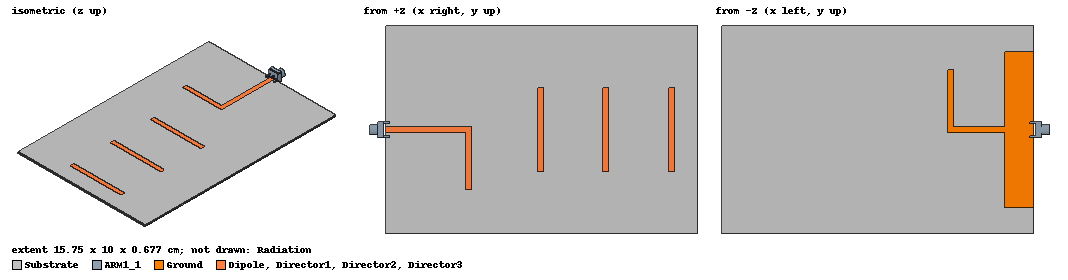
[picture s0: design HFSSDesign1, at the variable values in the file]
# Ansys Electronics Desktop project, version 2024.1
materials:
  vacuum: permittivity=1
  FR4_epoxy: permittivity=4.4 dielectric_loss_tangent=0.02
  air: permittivity=1.0006 permeability=1.0000004
  polystyrene: permittivity=2.6 conductivity=1e-16
  pec: conductivity=1e+30
  Teflon (tm): permittivity=2.1 dielectric_loss_tangent=0.001

design HFSSDesign1 (HFSS, HFSS Terminal Network, model units cm)
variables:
  dipole_length = 2.75cm
  director_lenght = -4cm
  SX = 7.35mm
  SY = 2.5mm
  SZ = 6.35mm
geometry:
  Ground = rectangle(corner=(0cm, -3.75cm, -0.1cm), x_size=1.4cm, y_size=7.5cm)
  Substrate [polystyrene] = box(corner=(0cm, -5cm, -0.1cm), size=(15cm, 10cm, 0.1cm))
  Rectangle1 = rectangle(corner=(1.4cm, -0.15cm, -0.1cm), x_size=2.75cm, y_size=0.3cm)
  Rectangle2 = rectangle(corner=(4.15cm, 0.15cm, -0.1cm), x_size=-0.3cm, y_size=dipole_length)
  Rectangle3 = rectangle(corner=(0cm, -0.15cm, 0cm), x_size=4.15cm, y_size=0.3cm)
  Dipole = rectangle(corner=(4.15cm, -0.15cm, 0cm), x_size=-0.3cm, y_size=-dipole_length)
  Dipole.unite(Rectangle3)
  Ground.unite(Rectangle1, Rectangle2)
  Director1 = rectangle(corner=(7.3cm, 2cm, 0cm), x_size=0.3cm, y_size=director_lenght)
  Director2 = rectangle(corner=(10.45cm, 2cm, 0cm), x_size=0.3cm, y_size=director_lenght)
  Director3 = rectangle(corner=(13.6cm, 2cm, 0cm), x_size=0.3cm, y_size=director_lenght)
  Radiation [air] = box(corner=(-14cm, -20cm, -15cm), size=(50cm, 40cm, 30cm))
  SMA_body = box(corner=(-SY-0.1cm, -SX/2, -0.2cm), size=(SY, SX, SZ))
  ARM1 = box(corner=(-0.1cm, -SX/2, -0.2cm), size=(0.3cm, 0.1cm, 0.1cm))
  coordinate_system OC = origin=(0cm, 0cm, 0cm) x=(1cm, 0cm, 0cm) y=(0cm, 1cm, 0cm)
  ARM2 = box(corner=(-0.1cm, SX/2, -0.2cm), size=(0.3cm, -0.1cm, 0.1cm))
  ARM1_1 [pec] = ARM1.duplicate_along_line(step=(0cm, 0cm, 0.2cm), total=2)
  ARM2_1 = ARM2.duplicate_along_line(step=(0cm, 0cm, 0.2cm), total=2) in OC
  PIN [pec] = box(corner=(-0.1cm, (-0.036/2) cm, 0cm), size=(0.15cm, 0.036cm, 0.036cm)) in OC
  Cylinder1 = cylinder(axis=X, base_centre=(-0.1cm, 0cm, (0.036/2) cm), radius=0.1cm, height=-SY) in OC
  SMA_body.subtract(Cylinder1)
  inner_pin = cylinder(axis=X, base_centre=(-0.1cm, 0cm, (0.036/2) cm), radius=0.043cm, height=-SY) in OC
  Outer_conductor = cylinder(axis=X, base_centre=(-0.35cm, 0cm, 0.018cm), radius=0.26cm, height=-0.4cm) in OC
  Teflon [Teflon (tm)] = cylinder(axis=X, base_centre=(-SY-0.1cm, 0cm, 0.036cm/2), radius=0.22cm, height=-0.4cm) in OC
  Teflon_1 = Teflon.copy()
  Outer_conductor.subtract(Teflon_1)
  Inner_cond = cylinder(axis=X, base_centre=(-0.35cm, 0cm, 0.018cm), radius=0.063cm, height=-0.4cm) in OC
  Inner_cond_1 = Inner_cond.copy()
  Teflon.subtract(Inner_cond_1)
  PIN.unite(Inner_cond, inner_pin)
  ARM1_1.unite(SMA_body, ARM2_1, ARM2, ARM1, Outer_conductor)
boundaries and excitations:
  Rad1: Radiation Objects=Radiation
  PerfE1: Perfect E Objects=[Dipole, Director1, Director2, Director3, Ground]
  1: Lumped Port Faces=Teflon.face(at (-0.75, 0, 0.018)) LumpedPortType=Modal Modes{Mode1{IntLine{(-0.75, 0, 0.238) -> (-0.75, 0, 0.081)} CharImp=Zpi}} Impedance=50ohm
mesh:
  initial mesh: GlobalSurfApproximation{CurvedSurfaceApproxChoice=UseSlider SliderMeshSettings=7}
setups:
  Setup1: HfssDriven Frequency=2.1GHz MaxDeltaS=0.008 MaximumPasses=40 MinimumPasses=10 MinimumConvergedPasses=5 PercentRefinement=50 BasisOrder=1 PortAccuracy=2 DrivenSolverType="Iterative Solver" IterativeResidual=1e-06 DDMSolverResidual=0.0001
    sweep Sweep: 1.8GHz to 3GHz, 2001 points; Type=Fast SaveFields
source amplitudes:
  1:1: 1V 0deg
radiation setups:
  Infinite Sphere1: Infinite Sphere Theta=0deg..360deg step 2deg Phi=0deg..360deg step 2deg
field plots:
  Vector_E1: E Field over Dipole.face(at (2.075, -1.375, 0)) Director1.face Director2.face Director3.face on Setup1 : LastAdaptive at Freq=2.1GHz Phase=0deg
  Vector_H1: H Field over Dipole.face(at (2.075, -1.375, 0)) Director1.face Director2.face Director3.face on Setup1 : LastAdaptive at Freq=2.1GHz Phase=0deg
